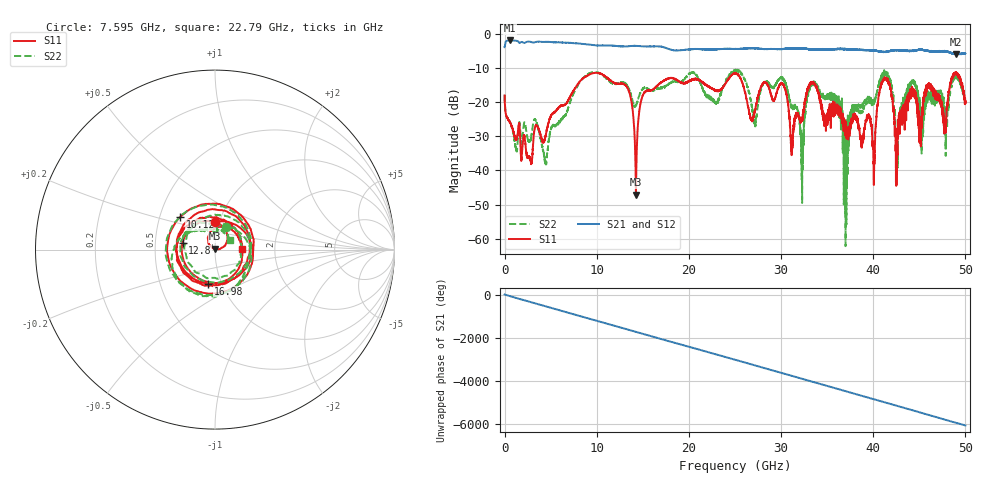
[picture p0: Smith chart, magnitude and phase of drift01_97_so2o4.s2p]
!Created with skrf (http://scikit-rf.org).
# Hz S RI R 50.0
!freq ReS11 ImS11 ReS21 ImS21 ReS12 ImS12 ReS22 ImS22
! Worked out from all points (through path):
!   10001 points, 300 kHz to 50 GHz, reference 50 ohm
!   highest |S21| = -2.00 dB at 625.3 MHz (marker M1); lowest = -6.1 dB at 48.98 GHz (marker M2)
!   group delay of S21, straight-line fit = 336 ps
!   lowest |S11| = -47.1 dB at 14.25 GHz (marker M3), VSWR 1.01, Z = 50.1 + j0.435 ohm
!   |S11| at or under -10 dB: start of sweep to end of sweep
!   |S22| runs from -62.2 to -10.6 dB; largest |S21 - S12| = 0.024
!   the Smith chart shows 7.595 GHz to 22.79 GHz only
!   S11 on the Smith chart (normalised r, x): 7.595 GHz: 0.95, +0.30; 10.12 GHz: 0.64, +0.25; 12.8 GHz: 0.69, +0.06; 16.98 GHz: 0.86, -0.34; 22.79 GHz: 1.36, +0.01
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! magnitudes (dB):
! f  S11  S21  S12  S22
! 300 kHz  -18.1  -4.0  -4.0  -17.9
! 625.3 MHz  -26.0  -2.0  -2.0  -26.1
! 4.445 GHz  -29.9  -2.4  -2.4  -37.4
! 7.595 GHz  -16.2  -2.8  -2.8  -16.9
! 8.335 GHz  -13.5  -3.0  -3.0  -13.5
! 10.12 GHz  -11.5  -3.4  -3.4  -11.3
! 12.8 GHz  -14.7  -3.7  -3.7  -14.3
! 14.25 GHz  -47.1  -3.6  -3.6  -21.2
! 16.67 GHz  -14.9  -3.7  -3.7  -15.8
! 16.98 GHz  -14.3  -3.8  -3.8  -15.7
! 22.79 GHz  -16.4  -4.6  -4.6  -19.9
! 25 GHz  -11.6  -4.5  -4.5  -11.1
! 27.15 GHz  -22.5  -4.3  -4.3  -25.9
! 30.2 GHz  -14.9  -4.5  -4.5  -13.2
! 32.26 GHz  -25.3  -4.3  -4.3  -38.5
! 33.34 GHz  -14.3  -4.6  -4.6  -14.7
! 37.02 GHz  -27.2  -4.5  -4.6  -33.3
! 40.07 GHz  -42.4  -4.9  -5.0  -20.0
! 41.67 GHz  -14.1  -5.1  -5.1  -12.4
! 42.56 GHz  -35.7  -4.8  -4.8  -28.3
! 48.98 GHz  -11.5  -6.1  -6.0  -12.7
! 50 GHz  -19.8  -5.8  -5.8  -19.4
